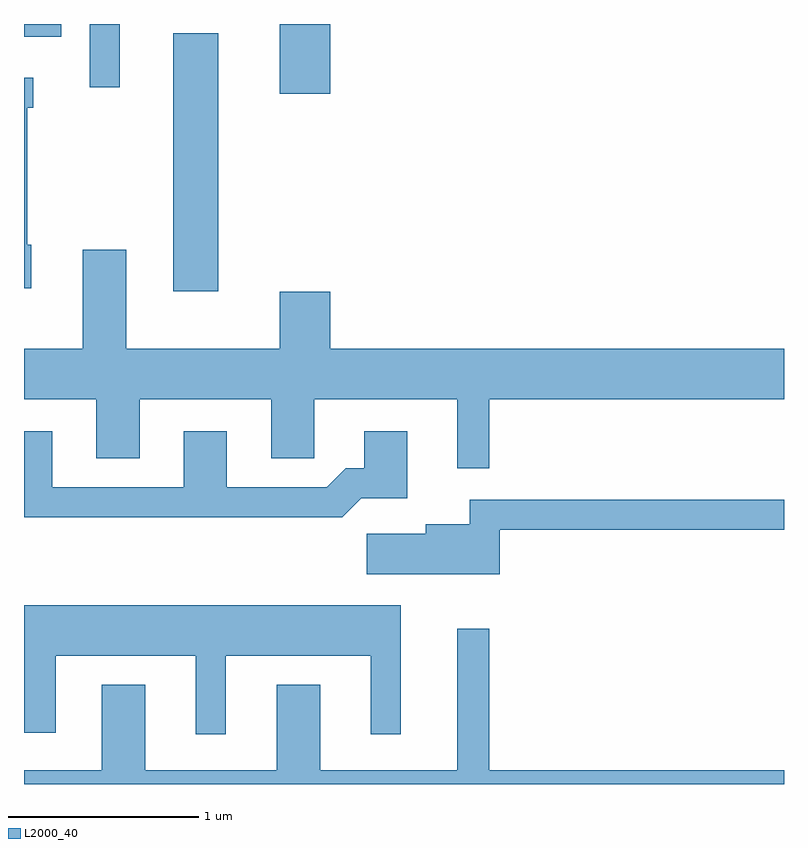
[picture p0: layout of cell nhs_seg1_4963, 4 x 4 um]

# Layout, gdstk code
import gdstk
lib = gdstk.Library(unit=1e-6, precision=1e-09)
def R(c, l, rs):  # rectangles x0, y0, x1, y1
    for r in rs: c.add(gdstk.rectangle(r[:2], r[2:], *l))
def P(c, l, *ps):  # polygons
    for p in ps: c.add(gdstk.Polygon(p, *l))
L2000_40 = (2000, 40)

nhs_seg1_4963 = lib.new_cell('nhs_seg1_4963')
R(nhs_seg1_4963, L2000_40, [(334.396,962.306,334.634,963.664), (334.956,963.346,335.224,963.712), (333.956,963.378,334.114,963.712), (333.611,963.646,333.808,963.712)])
P(nhs_seg1_4963, L2000_40, [(333.649,962.549),(333.629,962.549),(333.629,963.271),(333.659,963.271),(333.659,963.429),(333.611,963.429),(333.611,962.321),(333.649,962.321)],
  [(336.059,961.736),(337.611,961.736),(337.611,962.004),(335.224,962.004),(335.224,962.304),(334.956,962.304),(334.956,962.004),(334.149,962.004),(334.149,962.524),(333.921,962.524),(333.921,962.004),(333.611,962.004),(333.611,961.736),(333.991,961.736),(333.991,961.426),(334.219,961.426),(334.219,961.736),(334.911,961.736),(334.911,961.426),(335.139,961.426),(335.139,961.736),(335.891,961.736),(335.891,961.373),(336.059,961.373)],
  [(335.387,961.216),(335.629,961.216),(335.629,961.569),(335.401,961.569),(335.401,961.374),(335.304,961.374),(335.204,961.274),(334.679,961.274),(334.679,961.569),(334.451,961.569),(334.451,961.274),(333.759,961.274),(333.759,961.569),(333.611,961.569),(333.611,961.116),(335.287,961.116)],
  [(336.114,961.051),(337.611,961.051),(337.611,961.209),(335.956,961.209),(335.956,961.079),(335.726,961.079),(335.726,961.029),(335.416,961.029),(335.416,960.816),(336.114,960.816)],
  [(334.674,960.386),(335.436,960.386),(335.436,959.973),(335.594,959.973),(335.594,960.654),(333.611,960.654),(333.611,959.981),(333.779,959.981),(333.779,960.386),(334.516,960.386),(334.516,959.973),(334.674,959.973)],
  [(337.611,959.784),(336.059,959.784),(336.059,960.528),(335.891,960.528),(335.891,959.784),(335.169,959.784),(335.169,960.234),(334.941,960.234),(334.941,959.784),(334.249,959.784),(334.249,960.234),(334.021,960.234),(334.021,959.784),(333.611,959.784),(333.611,959.712),(337.611,959.712)])

lib.write_gds('nhs_seg1_4963.gds')
